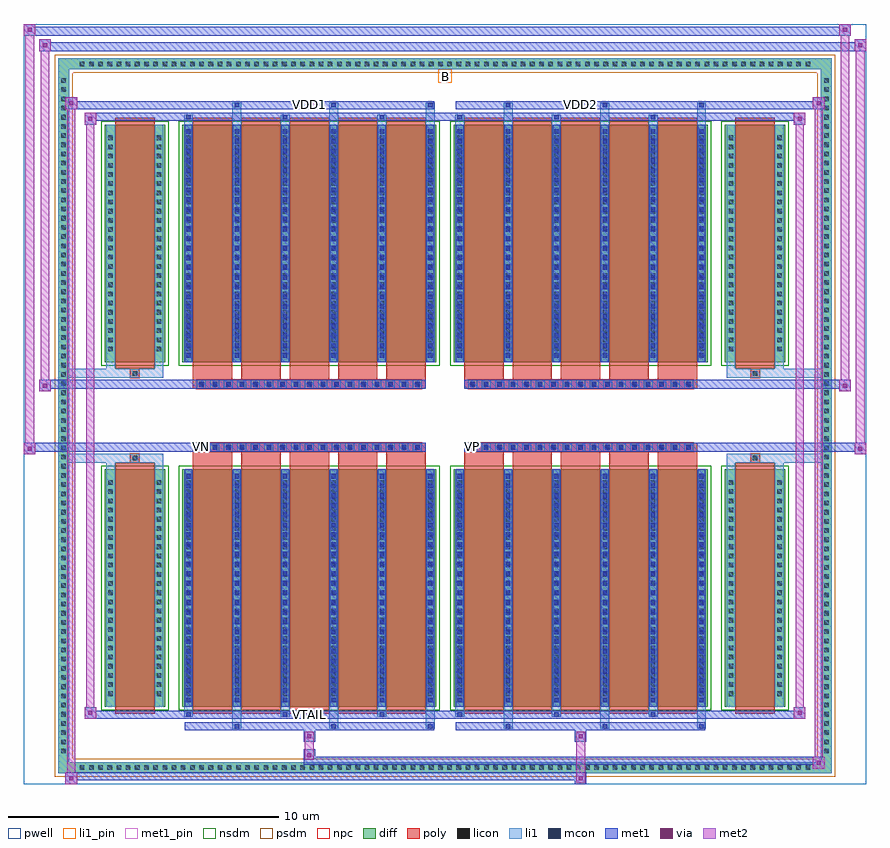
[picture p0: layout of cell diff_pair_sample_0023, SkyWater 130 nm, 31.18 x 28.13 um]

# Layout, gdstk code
import gdstk
lib = gdstk.Library(unit=1e-6, precision=5e-09)
def R(c, l, rs):  # rectangles x0, y0, x1, y1
    for r in rs: c.add(gdstk.rectangle(r[:2], r[2:], *l))
def A(c, l, x, y, w, h, nx, ny, dx, dy):  # array of equal rectangles
    R(c, l, [(x+i*dx, y+j*dy, x+i*dx+w, y+j*dy+h) for i in range(nx) for j in range(ny)])
def P(c, l, *ps):  # polygons
    for p in ps: c.add(gdstk.Polygon(p, *l))
pwell = (64, 44)
diff = (65, 20)
poly = (66, 20)
licon = (66, 44)
li1_pin = (67, 16)
li1 = (67, 20)
mcon = (67, 44)
met1_pin = (68, 16)
met1 = (68, 20)
via = (68, 44)
met2 = (69, 20)
nsdm = (93, 44)
psdm = (94, 20)
npc = (95, 20)

diff_pair_sample_0023 = lib.new_cell('diff_pair_sample_0023')
R(diff_pair_sample_0023, pwell, [(-15.59,-13.63,15.59,14.5), (-12.91,-11.82,-0.01,-0.8), (0.01,-11.82,12.91,-0.8), (-12.91,0.8,-0.01,11.82), (0.01,0.8,12.91,11.82)])
A(diff_pair_sample_0023, diff, -13.635, -13.23, 0.41, 0.41, 80, 2, 0.34, 26.05)
A(diff_pair_sample_0023, diff, -14.32, -12.615, 0.41, 0.41, 1, 74, 0, 0.34)
A(diff_pair_sample_0023, diff, 13.91, -12.615, 0.41, 0.41, 1, 74, 0, 0.34)
R(diff_pair_sample_0023, diff, [(-13.635,-13.23,13.635,-12.82), (-14.32,-12.615,-13.91,12.615), (13.91,-12.615,14.32,12.615), (-12.6,-10.775,-10.36,-1.985), (-9.72,-10.775,-0.32,-1.985), (0.32,-10.775,9.72,-1.985), (10.36,-10.775,12.6,-1.985), (-12.6,1.985,-10.36,10.775), (-9.72,1.985,-0.32,10.775), (0.32,1.985,9.72,10.775), (10.36,1.985,12.6,10.775), (-13.635,12.82,13.635,13.23)])
P(diff_pair_sample_0023, diff, [(14.32,13.23),(-14.32,13.23),(-14.32,-12.82),(-13.91,-12.82),(-13.91,12.82),(13.91,12.82),(13.91,-12.82),(-13.91,-12.82),(-14.32,-12.82),(-14.32,-13.23),(14.32,-13.23)])
A(diff_pair_sample_0023, poly, -9.33, -11.025, 1.46, 9.29, 5, 2, 1.79, 12.76)
A(diff_pair_sample_0023, poly, 0.71, -11.025, 1.46, 9.29, 5, 2, 1.79, 12.76)
A(diff_pair_sample_0023, poly, -9.33, -1.735, 1.46, 0.405, 5, 2, 1.79, 3.065)
A(diff_pair_sample_0023, poly, 0.71, -1.735, 1.46, 0.405, 5, 2, 1.79, 3.065)
A(diff_pair_sample_0023, poly, -9.185, -1.33, 0.33, 0.33, 17, 2, 0.5, 2.33)
A(diff_pair_sample_0023, poly, 0.855, -1.33, 0.33, 0.33, 17, 2, 0.5, 2.33)
R(diff_pair_sample_0023, poly, [(-12.21,-11.025,-10.75,-1.735), (10.75,-11.025,12.21,-1.735), (-11.645,-1.735,-11.315,-1.405), (-11.645,-1.735,-11.315,-1.405), (11.315,-1.735,11.645,-1.405), (11.315,-1.735,11.645,-1.405), (-9.33,-1.33,-0.71,-1), (0.71,-1.33,9.33,-1), (-9.33,1,-0.71,1.33), (0.71,1,9.33,1.33), (-11.645,1.405,-11.315,1.735), (-11.645,1.405,-11.315,1.735), (11.315,1.405,11.645,1.735), (11.315,1.405,11.645,1.735), (-12.21,1.735,-10.75,11.025), (10.75,1.735,12.21,11.025)])
A(diff_pair_sample_0023, licon, -13.515, -13.11, 0.17, 0.17, 80, 2, 0.34, 26.05)
A(diff_pair_sample_0023, licon, -14.2, -12.495, 0.17, 0.17, 1, 74, 0, 0.34)
A(diff_pair_sample_0023, licon, 14.03, -12.495, 0.17, 0.17, 1, 74, 0, 0.34)
A(diff_pair_sample_0023, licon, -12.46, -10.375, 0.17, 0.17, 1, 24, 0, 0.34)
A(diff_pair_sample_0023, licon, -10.67, -10.375, 0.17, 0.17, 1, 24, 0, 0.34)
A(diff_pair_sample_0023, licon, -9.58, -10.375, 0.17, 0.17, 6, 24, 1.79, 0.34)
A(diff_pair_sample_0023, licon, 0.46, -10.375, 0.17, 0.17, 6, 24, 1.79, 0.34)
A(diff_pair_sample_0023, licon, 10.5, -10.375, 0.17, 0.17, 1, 24, 0, 0.34)
A(diff_pair_sample_0023, licon, 12.29, -10.375, 0.17, 0.17, 1, 24, 0, 0.34)
A(diff_pair_sample_0023, licon, -9.105, -1.25, 0.17, 0.17, 17, 2, 0.5, 2.33)
A(diff_pair_sample_0023, licon, 0.935, -1.25, 0.17, 0.17, 17, 2, 0.5, 2.33)
A(diff_pair_sample_0023, licon, -12.46, 2.385, 0.17, 0.17, 1, 24, 0, 0.34)
A(diff_pair_sample_0023, licon, -10.67, 2.385, 0.17, 0.17, 1, 24, 0, 0.34)
A(diff_pair_sample_0023, licon, -9.58, 2.385, 0.17, 0.17, 6, 24, 1.79, 0.34)
A(diff_pair_sample_0023, licon, 0.46, 2.385, 0.17, 0.17, 6, 24, 1.79, 0.34)
A(diff_pair_sample_0023, licon, 10.5, 2.385, 0.17, 0.17, 1, 24, 0, 0.34)
A(diff_pair_sample_0023, licon, 12.29, 2.385, 0.17, 0.17, 1, 24, 0, 0.34)
R(diff_pair_sample_0023, licon, [(-11.565,-1.655,-11.395,-1.485), (11.395,-1.655,11.565,-1.485), (-11.565,1.485,-11.395,1.655), (11.395,1.485,11.565,1.655)])
R(diff_pair_sample_0023, li1_pin, [(-0.25,12.32,0.25,12.82)])
A(diff_pair_sample_0023, li1, -13.595, -13.19, 0.33, 0.33, 80, 2, 0.34, 26.05)
A(diff_pair_sample_0023, li1, -14.28, -12.575, 0.33, 0.33, 1, 74, 0, 0.34)
A(diff_pair_sample_0023, li1, 13.95, -12.575, 0.33, 0.33, 1, 74, 0, 0.34)
A(diff_pair_sample_0023, li1, -7.87, -11.58, 0.33, 0.805, 3, 2, 3.58, 22.355)
A(diff_pair_sample_0023, li1, -7.79, -11.58, 0.17, 0.17, 3, 2, 3.58, 22.99)
A(diff_pair_sample_0023, li1, 2.17, -11.58, 0.33, 0.805, 3, 2, 3.58, 22.355)
A(diff_pair_sample_0023, li1, 2.25, -11.58, 0.17, 0.17, 3, 2, 3.58, 22.99)
A(diff_pair_sample_0023, li1, -9.66, -11.15, 0.33, 0.375, 3, 2, 3.58, 21.925)
A(diff_pair_sample_0023, li1, -9.58, -11.15, 0.17, 0.17, 3, 2, 3.58, 22.13)
A(diff_pair_sample_0023, li1, 0.38, -11.15, 0.33, 0.375, 3, 2, 3.58, 21.925)
A(diff_pair_sample_0023, li1, 0.46, -11.15, 0.17, 0.17, 3, 2, 3.58, 22.13)
A(diff_pair_sample_0023, li1, -9.66, -10.775, 0.33, 8.79, 6, 2, 1.79, 12.76)
A(diff_pair_sample_0023, li1, 0.38, -10.775, 0.33, 8.79, 6, 2, 1.79, 12.76)
A(diff_pair_sample_0023, li1, -9.58, -10.605, 0.17, 0.17, 6, 24, 1.79, 0.36)
A(diff_pair_sample_0023, li1, -9.58, -10.605, 0.17, 8.45, 6, 2, 1.79, 12.76)
A(diff_pair_sample_0023, li1, 0.46, -10.605, 0.17, 0.17, 6, 24, 1.79, 0.36)
A(diff_pair_sample_0023, li1, 0.46, -10.605, 0.17, 8.45, 6, 2, 1.79, 12.76)
A(diff_pair_sample_0023, li1, -12.54, -10.455, 0.33, 0.33, 1, 24, 0, 0.34)
A(diff_pair_sample_0023, li1, -10.75, -10.455, 0.33, 0.33, 1, 24, 0, 0.34)
A(diff_pair_sample_0023, li1, -9.66, -10.455, 0.33, 0.33, 6, 24, 1.79, 0.34)
A(diff_pair_sample_0023, li1, 0.38, -10.455, 0.33, 0.33, 6, 24, 1.79, 0.34)
A(diff_pair_sample_0023, li1, 10.42, -10.455, 0.33, 0.33, 1, 24, 0, 0.34)
A(diff_pair_sample_0023, li1, 12.21, -10.455, 0.33, 0.33, 1, 24, 0, 0.34)
A(diff_pair_sample_0023, li1, -9.185, -1.33, 0.33, 0.33, 17, 2, 0.5, 2.33)
A(diff_pair_sample_0023, li1, 0.855, -1.33, 0.33, 0.33, 17, 2, 0.5, 2.33)
A(diff_pair_sample_0023, li1, -9.58, 2.155, 0.17, 0.17, 6, 24, 1.79, 0.36)
A(diff_pair_sample_0023, li1, 0.46, 2.155, 0.17, 0.17, 6, 24, 1.79, 0.36)
A(diff_pair_sample_0023, li1, -12.54, 2.305, 0.33, 0.33, 1, 24, 0, 0.34)
A(diff_pair_sample_0023, li1, -10.75, 2.305, 0.33, 0.33, 1, 24, 0, 0.34)
A(diff_pair_sample_0023, li1, -9.66, 2.305, 0.33, 0.33, 6, 24, 1.79, 0.34)
A(diff_pair_sample_0023, li1, 0.38, 2.305, 0.33, 0.33, 6, 24, 1.79, 0.34)
A(diff_pair_sample_0023, li1, 10.42, 2.305, 0.33, 0.33, 1, 24, 0, 0.34)
A(diff_pair_sample_0023, li1, 12.21, 2.305, 0.33, 0.33, 1, 24, 0, 0.34)
R(diff_pair_sample_0023, li1, [(-14.32,-13.23,-13.91,-12.82), (-14.32,-13.23,-13.91,-12.82), (-13.91,-13.23,13.91,-12.82), (13.91,-13.23,14.32,-12.82), (13.91,-13.23,14.32,-12.82), (-14.32,-12.82,-13.91,12.82), (13.91,-12.82,14.32,12.82), (-12.54,-10.775,-12.21,-1.985), (-10.75,-10.775,-10.42,-1.985), (10.42,-10.775,10.75,-1.985), (12.21,-10.775,12.54,-1.985), (-12.54,-1.985,-12.21,-1.405), (-10.75,-1.985,-10.42,-1.405), (10.42,-1.985,10.75,-1.405), (12.21,-1.985,12.54,-1.405), (-14.32,-1.735,-11.645,-1.405), (-12.54,-1.735,-11.645,-1.405), (-11.645,-1.735,-11.315,-1.405), (-11.315,-1.735,-10.42,-1.405), (10.42,-1.735,11.315,-1.405), (11.315,-1.735,11.645,-1.405), (11.315,-1.735,14.32,-1.405), (11.645,-1.735,12.54,-1.405), (-14.32,1.405,-11.645,1.735), (-12.54,1.405,-11.645,1.735), (-12.54,1.405,-12.21,1.985), (-11.645,1.405,-11.315,1.735), (-11.315,1.405,-10.42,1.735), (-10.75,1.405,-10.42,1.985), (10.42,1.405,11.315,1.735), (10.42,1.405,10.75,1.985), (11.315,1.405,11.645,1.735), (11.315,1.405,14.32,1.735), (11.645,1.405,12.54,1.735), (12.21,1.405,12.54,1.985), (-12.54,1.985,-12.21,10.775), (-10.75,1.985,-10.42,10.775), (10.42,1.985,10.75,10.775), (12.21,1.985,12.54,10.775), (-14.32,12.82,-13.91,13.23), (-14.32,12.82,-13.91,13.23), (-13.91,12.82,13.91,13.23), (13.91,12.82,14.32,13.23), (13.91,12.82,14.32,13.23)])
A(diff_pair_sample_0023, mcon, -7.79, -11.58, 0.17, 0.17, 3, 2, 3.58, 22.99)
A(diff_pair_sample_0023, mcon, 2.25, -11.58, 0.17, 0.17, 3, 2, 3.58, 22.99)
A(diff_pair_sample_0023, mcon, -9.58, -11.15, 0.17, 0.17, 3, 2, 3.58, 22.13)
A(diff_pair_sample_0023, mcon, 0.46, -11.15, 0.17, 0.17, 3, 2, 3.58, 22.13)
A(diff_pair_sample_0023, mcon, -9.58, -10.605, 0.17, 0.17, 6, 24, 1.79, 0.36)
A(diff_pair_sample_0023, mcon, 0.46, -10.605, 0.17, 0.17, 6, 24, 1.79, 0.36)
A(diff_pair_sample_0023, mcon, -9.105, -1.25, 0.17, 0.17, 17, 2, 0.5, 2.33)
A(diff_pair_sample_0023, mcon, 0.935, -1.25, 0.17, 0.17, 17, 2, 0.5, 2.33)
A(diff_pair_sample_0023, mcon, -9.58, 2.155, 0.17, 0.17, 6, 24, 1.79, 0.36)
A(diff_pair_sample_0023, mcon, 0.46, 2.155, 0.17, 0.17, 6, 24, 1.79, 0.36)
R(diff_pair_sample_0023, met1_pin, [(-5.155,-11.19,-4.885,-10.92), (-9.155,-1.29,-8.885,-1.02), (0.885,-1.29,1.155,-1.02), (-5.155,11.37,-4.885,11.64), (4.885,11.37,5.155,11.64)])
A(diff_pair_sample_0023, met1, -7.85, -11.64, 0.29, 0.29, 3, 2, 3.58, 22.99)
A(diff_pair_sample_0023, met1, 2.19, -11.64, 0.29, 0.29, 3, 2, 3.58, 22.99)
A(diff_pair_sample_0023, met1, -9.64, -11.21, 0.29, 0.29, 3, 2, 3.58, 22.13)
A(diff_pair_sample_0023, met1, 0.4, -11.21, 0.29, 0.29, 3, 2, 3.58, 22.13)
A(diff_pair_sample_0023, met1, -9.64, -10.775, 0.29, 8.79, 6, 2, 1.79, 12.76)
A(diff_pair_sample_0023, met1, 0.4, -10.775, 0.29, 8.79, 6, 2, 1.79, 12.76)
A(diff_pair_sample_0023, met1, -9.64, -10.665, 0.29, 0.29, 6, 24, 1.79, 0.36)
A(diff_pair_sample_0023, met1, 0.4, -10.665, 0.29, 0.29, 6, 24, 1.79, 0.36)
A(diff_pair_sample_0023, met1, -9.165, -1.31, 0.29, 0.29, 17, 2, 0.5, 2.33)
A(diff_pair_sample_0023, met1, 0.875, -1.31, 0.29, 0.29, 17, 2, 0.5, 2.33)
A(diff_pair_sample_0023, met1, -9.64, 2.095, 0.29, 0.29, 6, 24, 1.79, 0.36)
A(diff_pair_sample_0023, met1, 0.4, 2.095, 0.29, 0.29, 6, 24, 1.79, 0.36)
R(diff_pair_sample_0023, met1, [(-14.05,-13.63,-13.62,-13.2), (4.805,-13.63,5.235,-13.2), (-14.05,-13.49,5.235,-13.2), (13.62,-13.06,14.05,-12.63), (-5.235,-12.92,14.05,-12.63), (-5.235,-12.78,-4.805,-12.35), (-5.235,-12.07,-4.805,-11.64), (4.805,-12.07,5.235,-11.64), (-9.64,-11.64,-0.4,-11.35), (0.4,-11.64,9.64,-11.35), (-13.34,-11.21,-12.91,-10.78), (-13.34,-11.21,-9.64,-10.92), (-9.64,-11.21,-0.4,-10.92), (-0.4,-11.21,0.4,-10.92), (0.4,-11.21,9.64,-10.92), (9.64,-11.21,13.34,-10.92), (12.91,-11.21,13.34,-10.78), (-15.59,-1.43,-15.16,-1), (15.16,-1.43,15.59,-1), (-15.59,-1.33,-0.71,-1), (-9.33,-1.33,-0.71,-1), (0.71,-1.33,9.33,-1), (0.71,-1.33,15.59,-1), (-15.02,0.9,-14.59,1.33), (14.59,0.9,15.02,1.33), (-15.02,1,-9.33,1.33), (-9.33,1,-0.71,1.33), (0.71,1,9.33,1.33), (9.33,1,15.02,1.33), (-13.34,10.78,-12.91,11.21), (12.91,10.78,13.34,11.21), (-13.34,10.92,-9.64,11.21), (-9.64,10.92,-0.4,11.21), (-0.4,10.92,0.4,11.21), (0.4,10.92,9.64,11.21), (9.64,10.92,13.34,11.21), (-14.05,11.35,-13.62,11.78), (-14.05,11.35,-9.64,11.64), (-9.64,11.35,-0.4,11.64), (0.4,11.35,9.64,11.64), (9.64,11.35,14.05,11.64), (13.62,11.35,14.05,11.78), (-15.02,13.5,-14.59,13.93), (-15.02,13.5,-12.91,13.83), (-12.91,13.5,12.91,13.83), (12.91,13.5,15.59,13.83), (15.16,13.5,15.59,13.93), (-15.59,14.07,-15.16,14.5), (-15.59,14.07,-12.91,14.4), (-12.91,14.07,12.91,14.4), (12.91,14.07,15.02,14.4), (14.59,14.07,15.02,14.5)])
R(diff_pair_sample_0023, via, [(-13.91,-13.49,-13.76,-13.34), (4.945,-13.49,5.095,-13.34), (13.76,-12.92,13.91,-12.77), (-5.095,-12.64,-4.945,-12.49), (-5.095,-11.93,-4.945,-11.78), (4.945,-11.93,5.095,-11.78), (-13.2,-11.07,-13.05,-10.92), (13.05,-11.07,13.2,-10.92), (-15.45,-1.29,-15.3,-1.14), (15.3,-1.29,15.45,-1.14), (-14.88,1.04,-14.73,1.19), (14.73,1.04,14.88,1.19), (-13.2,10.92,-13.05,11.07), (13.05,10.92,13.2,11.07), (-13.91,11.49,-13.76,11.64), (13.76,11.49,13.91,11.64), (-14.88,13.64,-14.73,13.79), (15.3,13.64,15.45,13.79), (-15.45,14.21,-15.3,14.36), (14.73,14.21,14.88,14.36)])
R(diff_pair_sample_0023, met2, [(-14.05,-13.63,-13.62,-13.2), (-13.98,-13.63,-13.69,11.78), (-13.69,-13.63,-13.62,-13.2), (-14,-13.58,-13.67,-13.25), (4.855,-13.58,5.185,-13.25), (4.855,-13.25,5.185,-12.02), (13.62,-13.06,14.05,-12.63), (13.69,-13.06,13.98,11.78), (13.98,-13.06,14.05,-12.63), (13.67,-13.01,14,-12.68), (-5.185,-12.73,-4.855,-12.4), (-5.185,-12.4,-4.855,-12.02), (-5.185,-12.02,-4.855,-11.69), (4.855,-12.02,5.185,-11.69), (-13.34,-11.21,-12.91,-10.78), (-13.27,-11.21,-12.98,11.21), (-12.98,-11.21,-12.91,-10.78), (12.91,-11.21,13.34,-10.78), (12.98,-11.21,13.27,11.21), (13.27,-11.21,13.34,-10.78), (-13.29,-11.16,-12.96,-10.83), (12.96,-11.16,13.29,-10.83), (-15.59,-1.43,-15.16,-1), (-15.54,-1.43,-15.21,14.5), (-15.21,-1.43,-15.16,-1), (15.16,-1.43,15.59,-1), (15.21,-1.43,15.54,13.93), (15.54,-1.43,15.59,-1), (-15.54,-1.38,-15.21,-1.05), (15.21,-1.38,15.54,-1.05), (-15.02,0.9,-14.59,1.33), (-14.97,0.9,-14.64,13.93), (-14.64,0.9,-14.59,1.33), (14.59,0.9,15.02,1.33), (14.64,0.9,14.97,14.5), (14.97,0.9,15.02,1.33), (-14.97,0.95,-14.64,1.28), (14.64,0.95,14.97,1.28), (-13.34,10.78,-12.91,11.21), (-12.98,10.78,-12.91,11.21), (12.91,10.78,13.34,11.21), (13.27,10.78,13.34,11.21), (-13.29,10.83,-12.96,11.16), (12.96,10.83,13.29,11.16), (-14.05,11.35,-13.62,11.78), (-13.69,11.35,-13.62,11.78), (13.62,11.35,14.05,11.78), (13.98,11.35,14.05,11.78), (-14,11.4,-13.67,11.73), (13.67,11.4,14,11.73), (-15.02,13.5,-14.59,13.93), (-14.64,13.5,-14.59,13.93), (15.16,13.5,15.59,13.93), (15.54,13.5,15.59,13.93), (-14.97,13.55,-14.64,13.88), (15.21,13.55,15.54,13.88), (-15.59,14.07,-15.16,14.5), (-15.21,14.07,-15.16,14.5), (14.59,14.07,15.02,14.5), (14.97,14.07,15.02,14.5), (-15.54,14.12,-15.21,14.45), (14.64,14.12,14.97,14.45)])
R(diff_pair_sample_0023, nsdm, [(-12.73,-10.905,-10.23,-1.855), (-9.85,-10.905,-0.19,-1.855), (0.19,-10.905,9.85,-1.855), (10.23,-10.905,12.73,-1.855), (-12.73,1.855,-10.23,10.905), (-9.85,1.855,-0.19,10.905), (0.19,1.855,9.85,10.905), (10.23,1.855,12.73,10.905)])
P(diff_pair_sample_0023, psdm, [(14.45,13.36),(-14.45,13.36),(-14.45,-12.69),(-13.78,-12.69),(-13.78,12.69),(13.78,12.69),(13.78,-12.69),(-13.78,-12.69),(-14.45,-12.69),(-14.45,-13.36),(14.45,-13.36)])
A(diff_pair_sample_0023, npc, -9.205, -1.35, 0.37, 0.37, 17, 2, 0.5, 2.33)
A(diff_pair_sample_0023, npc, 0.835, -1.35, 0.37, 0.37, 17, 2, 0.5, 2.33)
R(diff_pair_sample_0023, npc, [(-11.665,-1.755,-11.295,-1.385), (11.295,-1.755,11.665,-1.385), (-9.205,-1.35,-8.335,-0.98), (-9.205,-1.35,-8.335,-0.98), (-8.705,-1.35,-7.835,-0.98), (-8.705,-1.35,-7.835,-0.98), (-8.205,-1.35,-7.335,-0.98), (-8.205,-1.35,-7.335,-0.98), (-7.705,-1.35,-6.835,-0.98), (-7.705,-1.35,-6.835,-0.98), (-7.205,-1.35,-6.335,-0.98), (-7.205,-1.35,-6.335,-0.98), (-6.705,-1.35,-5.835,-0.98), (-6.705,-1.35,-5.835,-0.98), (-6.205,-1.35,-5.335,-0.98), (-6.205,-1.35,-5.335,-0.98), (-5.705,-1.35,-4.835,-0.98), (-5.705,-1.35,-4.835,-0.98), (-5.205,-1.35,-4.335,-0.98), (-5.205,-1.35,-4.335,-0.98), (-4.705,-1.35,-3.835,-0.98), (-4.705,-1.35,-3.835,-0.98), (-4.205,-1.35,-3.335,-0.98), (-4.205,-1.35,-3.335,-0.98), (-3.705,-1.35,-2.835,-0.98), (-3.705,-1.35,-2.835,-0.98), (-3.205,-1.35,-2.335,-0.98), (-3.205,-1.35,-2.335,-0.98), (-2.705,-1.35,-1.835,-0.98), (-2.705,-1.35,-1.835,-0.98), (-2.205,-1.35,-1.335,-0.98), (-2.205,-1.35,-1.335,-0.98), (-1.705,-1.35,-0.835,-0.98), (-1.705,-1.35,-0.835,-0.98), (0.835,-1.35,1.705,-0.98), (0.835,-1.35,1.705,-0.98), (1.335,-1.35,2.205,-0.98), (1.335,-1.35,2.205,-0.98), (1.835,-1.35,2.705,-0.98), (1.835,-1.35,2.705,-0.98), (2.335,-1.35,3.205,-0.98), (2.335,-1.35,3.205,-0.98), (2.835,-1.35,3.705,-0.98), (2.835,-1.35,3.705,-0.98), (3.335,-1.35,4.205,-0.98), (3.335,-1.35,4.205,-0.98), (3.835,-1.35,4.705,-0.98), (3.835,-1.35,4.705,-0.98), (4.335,-1.35,5.205,-0.98), (4.335,-1.35,5.205,-0.98), (4.835,-1.35,5.705,-0.98), (4.835,-1.35,5.705,-0.98), (5.335,-1.35,6.205,-0.98), (5.335,-1.35,6.205,-0.98), (5.835,-1.35,6.705,-0.98), (5.835,-1.35,6.705,-0.98), (6.335,-1.35,7.205,-0.98), (6.335,-1.35,7.205,-0.98), (6.835,-1.35,7.705,-0.98), (6.835,-1.35,7.705,-0.98), (7.335,-1.35,8.205,-0.98), (7.335,-1.35,8.205,-0.98), (7.835,-1.35,8.705,-0.98), (7.835,-1.35,8.705,-0.98), (8.335,-1.35,9.205,-0.98), (8.335,-1.35,9.205,-0.98), (-9.205,0.98,-8.335,1.35), (-9.205,0.98,-8.335,1.35), (-8.705,0.98,-7.835,1.35), (-8.705,0.98,-7.835,1.35), (-8.205,0.98,-7.335,1.35), (-8.205,0.98,-7.335,1.35), (-7.705,0.98,-6.835,1.35), (-7.705,0.98,-6.835,1.35), (-7.205,0.98,-6.335,1.35), (-7.205,0.98,-6.335,1.35), (-6.705,0.98,-5.835,1.35), (-6.705,0.98,-5.835,1.35), (-6.205,0.98,-5.335,1.35), (-6.205,0.98,-5.335,1.35), (-5.705,0.98,-4.835,1.35), (-5.705,0.98,-4.835,1.35), (-5.205,0.98,-4.335,1.35), (-5.205,0.98,-4.335,1.35), (-4.705,0.98,-3.835,1.35), (-4.705,0.98,-3.835,1.35), (-4.205,0.98,-3.335,1.35), (-4.205,0.98,-3.335,1.35), (-3.705,0.98,-2.835,1.35), (-3.705,0.98,-2.835,1.35), (-3.205,0.98,-2.335,1.35), (-3.205,0.98,-2.335,1.35), (-2.705,0.98,-1.835,1.35), (-2.705,0.98,-1.835,1.35), (-2.205,0.98,-1.335,1.35), (-2.205,0.98,-1.335,1.35), (-1.705,0.98,-0.835,1.35), (-1.705,0.98,-0.835,1.35), (0.835,0.98,1.705,1.35), (0.835,0.98,1.705,1.35), (1.335,0.98,2.205,1.35), (1.335,0.98,2.205,1.35), (1.835,0.98,2.705,1.35), (1.835,0.98,2.705,1.35), (2.335,0.98,3.205,1.35), (2.335,0.98,3.205,1.35), (2.835,0.98,3.705,1.35), (2.835,0.98,3.705,1.35), (3.335,0.98,4.205,1.35), (3.335,0.98,4.205,1.35), (3.835,0.98,4.705,1.35), (3.835,0.98,4.705,1.35), (4.335,0.98,5.205,1.35), (4.335,0.98,5.205,1.35), (4.835,0.98,5.705,1.35), (4.835,0.98,5.705,1.35), (5.335,0.98,6.205,1.35), (5.335,0.98,6.205,1.35), (5.835,0.98,6.705,1.35), (5.835,0.98,6.705,1.35), (6.335,0.98,7.205,1.35), (6.335,0.98,7.205,1.35), (6.835,0.98,7.705,1.35), (6.835,0.98,7.705,1.35), (7.335,0.98,8.205,1.35), (7.335,0.98,8.205,1.35), (7.835,0.98,8.705,1.35), (7.835,0.98,8.705,1.35), (8.335,0.98,9.205,1.35), (8.335,0.98,9.205,1.35), (-11.665,1.385,-11.295,1.755), (11.295,1.385,11.665,1.755)])
diff_pair_sample_0023.add(gdstk.Label('VTAIL', (-5.02,-11.055), layer=68, texttype=5))
diff_pair_sample_0023.add(gdstk.Label('VN', (-9.02,-1.155), layer=68, texttype=5))
diff_pair_sample_0023.add(gdstk.Label('VP', (1.02,-1.155), layer=68, texttype=5))
diff_pair_sample_0023.add(gdstk.Label('B', (0,12.57), layer=67, texttype=5))
diff_pair_sample_0023.add(gdstk.Label('VDD2', (5.02,11.505), layer=68, texttype=5))
diff_pair_sample_0023.add(gdstk.Label('VDD1', (-5.02,11.505), layer=68, texttype=5))

lib.write_gds('diff_pair_sample_0023.gds')
